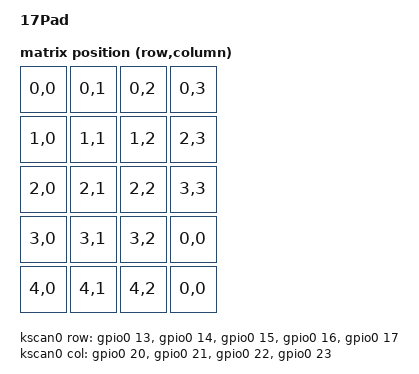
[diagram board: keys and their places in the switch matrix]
/dts-v1/;
#include <nrf52840.dtsi>

/ {
    model = "17Pad";
    compatible = "17pad";

    chosen {
        zephyr,code-partition = &code_partition;
        zephyr,sram = &sram0;
        zephyr,flash = &flash0;
        zmk,kscan = &kscan0;
        zmk,matrix-transform = &default_transform;
    };

    kscan0: kscan {
        compatible = "zmk,kscan-gpio-matrix";
        wakeup-source;

        // 5行 × 4列
        row-gpios
            = <&gpio0 13 (GPIO_ACTIVE_HIGH)>
            , <&gpio0 14 (GPIO_ACTIVE_HIGH)>
            , <&gpio0 15 (GPIO_ACTIVE_HIGH)>
            , <&gpio0 16 (GPIO_ACTIVE_HIGH)>
            , <&gpio0 17 (GPIO_ACTIVE_HIGH)>;
        col-gpios
            = <&gpio0 20 (GPIO_ACTIVE_HIGH)>
            , <&gpio0 21 (GPIO_ACTIVE_HIGH)>
            , <&gpio0 22 (GPIO_ACTIVE_HIGH)>
            , <&gpio0 23 (GPIO_ACTIVE_HIGH)>;
    };

    default_transform: keymap_transform_0 {
        compatible = "zmk,matrix-transform";
        columns = <4>;
        rows = <5>;

        // 按照物理布局映射
        // 空缺位置用 RC(0,0) 占位但实际不连接
        map = <
            RC(0,0) RC(0,1) RC(0,2) RC(0,3)
            RC(1,0) RC(1,1) RC(1,2) RC(2,3)   // row1 col3 实际映射到矩阵 [2,3]
            RC(2,0) RC(2,1) RC(2,2) RC(3,3)   // row2 col3 实际映射到矩阵 [3,3]
            RC(3,0) RC(3,1) RC(3,2) RC(0,0)   // row3 col3 占位（无按键）
            RC(4,0) RC(4,1) RC(4,2) RC(0,0)   // row4 col1 占位（无按键）
        >;
    };
};

&flash0 {
    partitions {
        compatible = "fixed-partitions";
        #address-cells = <1>;
        #size-cells = <1>;

        boot_partition: partition@0 {
            label = "mcuboot";
            reg = <0x00000000 0x00010000>;
        };
        slot0_partition: partition@10000 {
            label = "image-0";
            reg = <0x00010000 0x0006A000>;
        };
        slot1_partition: partition@7A000 {
            label = "image-1";
            reg = <0x0007A000 0x0006A000>;
        };
        code_partition: partition@E4000 {
            label = "image-2";
            reg = <0x000E4000 0x0001C000>;
        };
        storage_partition: partition@100000 {
            label = "storage";
            reg = <0x00100000 0x00080000>;
        };
    };
};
